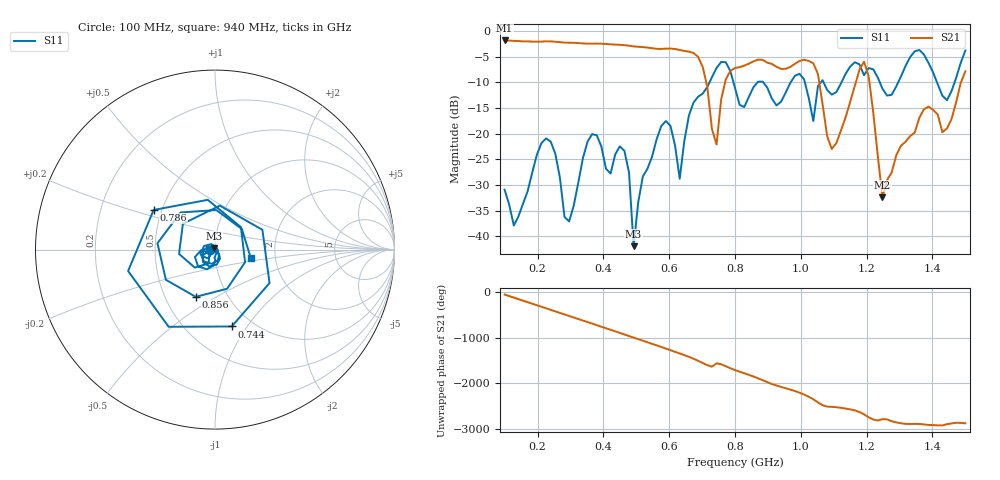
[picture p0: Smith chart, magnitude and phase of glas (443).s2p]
! NanoVNA-App
! Date: 2025-09-25 15:58:55
! Start: 100MHz Stop: 1,5GHz Points: 101
! S-Parameter data: F S11 S21 S12 S22
# Hz S RI R 50
!  Frequency  S11_Real  S11_Imag  S21_Real  S21_Imag  S12_Real  S12_Imag  S22_Real  S22_Imag
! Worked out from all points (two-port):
!   101 points, 100 MHz to 1.5 GHz, reference 50 ohm
!   highest |S21| = -1.80 dB at 100 MHz (marker M1); lowest = -32.4 dB at 1.248 GHz (marker M2)
!   |S21| within 3 dB of the highest: start of sweep to 684.4 MHz
!   lowest |S11| = -41.9 dB at 492 MHz (marker M3), VSWR 1.02, Z = 49.5 + j0.613 ohm
!   |S11| at or under -10 dB: start of sweep to 722.4 MHz; 795.5 MHz to 868.2 MHz (72.74 MHz wide, 8.74 % of centre); 886.1 MHz to 968.9 MHz (82.82 MHz wide, 8.93 % of centre) (the widest 3 of 7)
!   S12 and S22 are empty: the file has one direction only
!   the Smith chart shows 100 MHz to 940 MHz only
!   S11 on the Smith chart (normalised r, x): 100 MHz: 0.95, -0.01; 744 MHz: 0.80, -0.85; 786 MHz: 0.45, +0.24; 856 MHz: 0.71, -0.41; 940 MHz: 1.49, -0.15
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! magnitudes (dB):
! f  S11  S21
! 100 MHz  -30.9  -1.8
! 128 MHz  -37.9  -1.9
! 226 MHz  -20.9  -2.0
! 296 MHz  -37.1  -2.2
! 338 MHz  -24.8  -2.4
! 464 MHz  -23.4  -2.7
! 492 MHz  -41.9  -3.0
! 576 MHz  -18.5  -3.4
! 632 MHz  -28.8  -3.7
! 702 MHz  -12.2  -7.0
! 744 MHz  -7.2  -22.1
! 786 MHz  -7.8  -7.7
! 800 MHz  -11.1  -7.2
! 856 MHz  -10.9  -5.9
! 940 MHz  -13.7  -7.4
! 996 MHz  -8.3  -5.8
! 1.038 GHz  -17.5  -6.3
! 1.094 GHz  -12.4  -23.0
! 1.192 GHz  -8.6  -5.9
! 1.248 GHz  -11.2  -32.4
! 1.276 GHz  -12.4  -27.6
! 1.5 GHz  -3.8  -7.8
